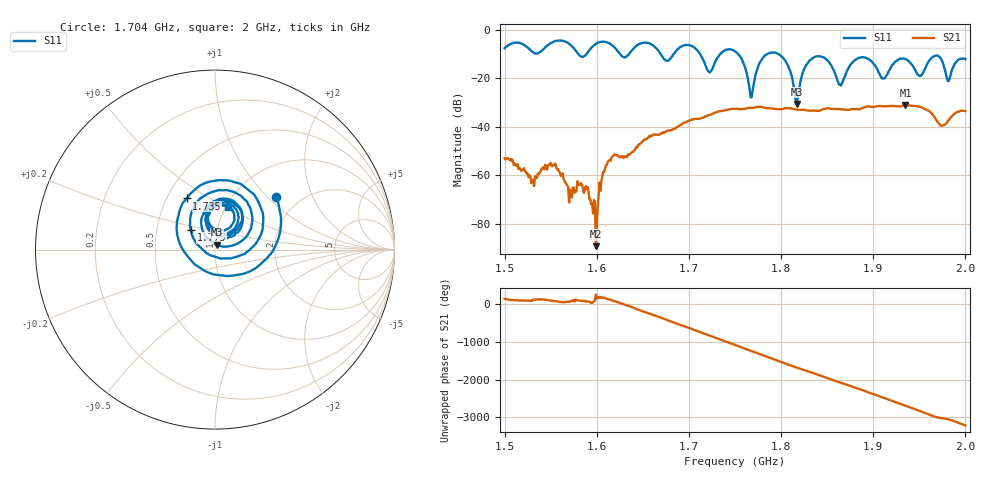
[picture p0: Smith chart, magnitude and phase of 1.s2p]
! NanoVNA-App by SYSJOINT et al v1.1.209 (+OD18)
! Date: 2026-01-21 14:42:55
! Start: 1,5GHz Stop: 2GHz Points: 501
! S-Parameter data: F S11 S21 S12 S22
# Hz S RI R 50
!  Frequency  S11_Real  S11_Imag  S21_Real  S21_Imag  S12_Real  S12_Imag  S22_Real  S22_Imag
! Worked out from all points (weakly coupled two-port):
!   501 points, 1.5 GHz to 2 GHz, reference 50 ohm
!   highest |S21| = -31.19 dB at 1.935 GHz (marker M1); lowest = -89.3 dB at 1.599 GHz (marker M2)
!   lowest |S11| = -30.7 dB at 1.817 GHz (marker M3), VSWR 1.06, Z = 50.9 + j2.81 ohm
!   |S11| at or under -10 dB: 1.712 GHz to 1.734 GHz (22.05 MHz wide, 1.28 % of centre); 1.753 GHz to 1.785 GHz (32.28 MHz wide, 1.82 % of centre); 1.797 GHz to end of sweep (the widest 3 of 6)
!   S12 and S22 are empty: the file has one direction only
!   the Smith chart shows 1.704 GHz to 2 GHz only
!   S11 on the Smith chart (normalised r, x): 1.704 GHz: 1.52, +1.12; 1.735 GHz: 0.63, +0.40; 1.775 GHz: 0.75, +0.17; 2 GHz: 1.02, +0.51
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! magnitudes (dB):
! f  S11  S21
! 1.5 GHz  -7.7  -53.1
! 1.584 GHz  -11.3  -64.0
! 1.599 GHz  -5.9  -89.3
! 1.614 GHz  -5.8  -54.0
! 1.667 GHz  -8.8  -43.4
! 1.704 GHz  -7.0  -37.0
! 1.722 GHz  -17.6  -35.3
! 1.735 GHz  -9.7  -33.7
! 1.75 GHz  -9.0  -32.7
! 1.767 GHz  -28.0  -32.3
! 1.775 GHz  -15.2  -31.9
! 1.8 GHz  -10.9  -32.8
! 1.817 GHz  -30.7  -33.0
! 1.834 GHz  -11.9  -33.4
! 1.864 GHz  -22.7  -32.9
! 1.885 GHz  -11.6  -32.9
! 1.917 GHz  -17.0  -31.6
! 1.935 GHz  -12.1  -31.2
! 1.951 GHz  -19.1  -31.9
! 1.97 GHz  -10.8  -38.3
! 1.982 GHz  -21.2  -37.3
! 2 GHz  -12.2  -33.6
